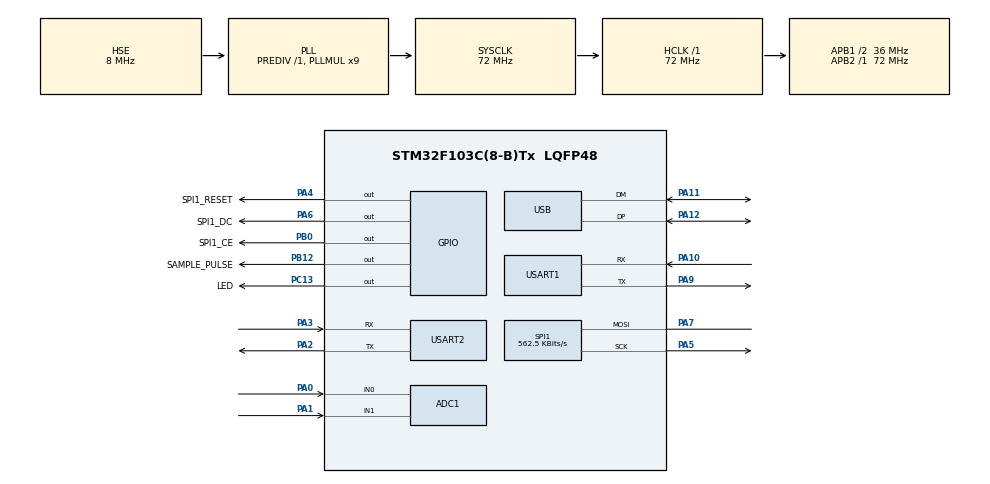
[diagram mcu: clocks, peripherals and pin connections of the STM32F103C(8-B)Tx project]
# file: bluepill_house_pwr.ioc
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Mcu.Family=STM32F1
USB_DEVICE.CLASS_NAME_FS=CDC
SPI1.VirtualType=VM_MASTER
VP_RTC_VS_RTC_Activate.Mode=RTC_Enabled
PA11.Mode=Device
PA6.GPIO_Label=SPI1_DC
PB0.GPIO_Label=SPI1_CE
RCC.SYSCLKSource=RCC_SYSCLKSOURCE_PLLCLK
ProjectManager.StackSize=0x400
VP_TIM1_VS_no_output1.Mode=Output Compare1 No Output
PD1-OSC_OUT.Signal=RCC_OSC_OUT
PA12.Signal=USB_DP
TIM1.Prescaler=0x0000
ADC1.Channel-3\#ChannelRegularConversion=ADC_CHANNEL_1
SPI1.Direction=SPI_DIRECTION_1LINE
USB_DEVICE.USBD_MAX_NUM_INTERFACES=1
RCC.HCLKFreq_Value=72000000
RCC.APB2TimFreq_Value=72000000
ADC1.Channel-2\#ChannelRegularConversion=ADC_CHANNEL_0
SPI1.CalculateBaudRate=562.5 KBits/s
TIM1.OC1Preload=ENABLE
RCC.AHBFreq_Value=72000000
RCC.RTCClockSelection=RCC_RTCCLKSOURCE_LSE
RCC.PLLMUL=RCC_PLL_MUL9
PB12.GPIO_Label=SAMPLE_PULSE
ADC1.Rank-2\#ChannelRegularConversion=1
PC14-OSC32_IN.Mode=LSE-External-Oscillator
SH.ADCx_IN0.0=ADC1_IN0,IN0
VP_TIM1_VS_ClockSourceINT.Mode=Internal
Mcu.Package=LQFP48
PA6.Signal=GPIO_Output
TIM1.Pulse-Output\ Compare1\ No\ Output=0x8000
USART2.VirtualMode=VM_ASYNC
PA10.Signal=USART1_RX
SH.ADCx_IN1.0=ADC1_IN1,IN1
RCC.APB1TimFreq_Value=72000000
TIM1.Period=18250
NVIC.USART1_IRQn=true\:0\:0\:false\:false\:true\:true\:true
SPI1.BaudRatePrescaler=SPI_BAUDRATEPRESCALER_128
PA4.GPIO_Label=SPI1_RESET
PA3.Signal=USART2_RX
PA5.Mode=Simplex_Bidirectional_Master
RCC.PLLSourceVirtual=RCC_PLLSOURCE_HSE
PC15-OSC32_OUT.Mode=LSE-External-Oscillator
PA7.Mode=Simplex_Bidirectional_Master
PD1-OSC_OUT.Mode=HSE-External-Oscillator
PA10.Mode=Asynchronous
USB_DEVICE.VirtualModeFS=Cdc_FS
TIM1.Channel-Output\ Compare1\ No\ Output=TIM_CHANNEL_1
ADC1.DiscontinuousConvMode=ENABLE
PC13-TAMPER-RTC.Signal=GPIO_Output
RCC.USBPrescaler=RCC_USBCLKSOURCE_PLL_DIV1_5
PD0-OSC_IN.Signal=RCC_OSC_IN
RCC.APB1CLKDivider=RCC_HCLK_DIV2
PC14-OSC32_IN.Signal=RCC_OSC32_IN
VP_SYS_VS_ND.Mode=No_Debug
NVIC.USART2_IRQn=true\:0\:0\:false\:false\:true\:true\:true
ADC1.SamplingTime-2\#ChannelRegularConversion=ADC_SAMPLETIME_1CYCLE_5
PA0-WKUP.Signal=ADCx_IN0
TIM1.ClockDivision=TIM_CLOCKDIVISION_DIV1
RCC.ADCPresc=RCC_ADCPCLK2_DIV6
PA3.Mode=Asynchronous
TIM1.AutoReloadPreload=TIM_AUTORELOAD_PRELOAD_DISABLE
PA9.Mode=Asynchronous
ProjectManager.TargetToolchain=STM32CubeIDE
VP_USB_DEVICE_VS_USB_DEVICE_CDC_FS.Mode=CDC_FS
PA9.Signal=USART1_TX
RCC.USBFreq_Value=48000000
PC15-OSC32_OUT.Signal=RCC_OSC32_OUT
PA1.Signal=ADCx_IN1
PD0-OSC_IN.Mode=HSE-External-Oscillator
PA5.Signal=SPI1_SCK
board=custom
PC13-TAMPER-RTC.GPIO_Label=LED
TIM1.TIM_MasterOutputTrigger=TIM_TRGO_OC1REF
RCC.APB2Freq_Value=72000000
SPI1.Mode=SPI_MODE_MASTER
NVIC.USB_LP_CAN1_RX0_IRQn=true\:0\:0\:false\:false\:true\:false\:true
ADC1.NbrOfConversion=2
Mcu.Name=STM32F103C(8-B)Tx
PA2.Signal=USART2_TX
ADC1.ExternalTrigConv=ADC_SOFTWARE_START
NVIC.TIM1_CC_IRQn=true\:0\:0\:false\:false\:true\:true\:true
PA4.Signal=GPIO_Output
RCC.SYSCLKFreq_VALUE=72000000
ADC1.master=1
PA12.Mode=Device
ADC1.Rank-3\#ChannelRegularConversion=2
ADC1.SamplingTime-3\#ChannelRegularConversion=ADC_SAMPLETIME_1CYCLE_5
USART1.VirtualMode=VM_ASYNC
PA11.Signal=USB_DM
ProjectManager.HeapSize=0x200
USB_DEVICE.USBD_MAX_NUM_CONFIGURATION=3
NVIC.PriorityGroup=NVIC_PRIORITYGROUP_4
ADC1.NbrOfConversionFlag=1
ADC1.EnableRegularConversion=ENABLE
PA2.Mode=Asynchronous
RCC.APB1Freq_Value=36000000
PB0.Signal=GPIO_Output
USB_DEVICE.VirtualMode=Cdc
PB12.Signal=GPIO_Output
TIM1.TIM_MasterSlaveMode=TIM_MASTERSLAVEMODE_DISABLE
PA7.Signal=SPI1_MOSI

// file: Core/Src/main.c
/* USER CODE BEGIN Header */
/**
  ******************************************************************************
  * @file           : main.c
  * @brief          : Main program body
  ******************************************************************************
  * @attention
  *
  * <h2><center>&copy; Copyright (c) 2020 STMicroelectronics.
  * All rights reserved.</center></h2>
  *
  * This software component is licensed by ST under BSD 3-Clause license,
  * the "License"; You may not use this file except in compliance with the
  * License. You may obtain a copy of the License at:
  *                        opensource.org/licenses/BSD-3-Clause
  *
  ******************************************************************************
  */
/* USER CODE END Header */
#include "main.h"
#include "adc.h"
#include "rtc.h"
#include "spi.h"
#include "tim.h"
#include "usart.h"
#include "usb_device.h"
#include "gpio.h"

/* USER CODE BEGIN Includes */
#include <stdio.h>
#include "usbd_cdc_if.h"
//#include "Utils/terminal.h"
//#include "nokia_lcd.h"
//#include "pwr_monitor.h"
//#include "wrap_cpp.h"
//#include "kses_cmdline.h"
/* USER CODE END Includes */

void SystemClock_Config(void);

/* USER CODE BEGIN 0 */
//int print_date(int argc, char* argv[])
//{
//  printf("Date:\n");
//
//  return CMDLINE_RETCODE_SUCCESS;
//}

/* USER CODE END 0 */

int main(void)
{

  /* MCU Configuration--------------------------------------------------------*/

  /* Reset of all peripherals, Initializes the Flash interface and the Systick. */
  HAL_Init();

  /* Configure the system clock */
  SystemClock_Config();

  /* Initialize all configured peripherals */
  MX_GPIO_Init();
  MX_USB_DEVICE_Init();
  MX_ADC1_Init();
  MX_USART1_UART_Init();
  MX_USART2_UART_Init();
  MX_TIM1_Init();
  MX_RTC_Init();
  MX_SPI1_Init();
  /* USER CODE BEGIN 2 */

  printf("House Power Monitor\n");
  printf("SYSCLOCK: %lu Hz\n", HAL_RCC_GetSysClockFreq());
  printf("HCLOCK  : %lu Hz\n", HAL_RCC_GetHCLKFreq());
  printf("APB1    : %lu Hz\n", HAL_RCC_GetPCLK1Freq());
  printf("APB2    : %lu Hz\n", HAL_RCC_GetPCLK2Freq());
  setbuf(stdout, NULL);
  terminal_init("pwr$ ");

  USART1->CR1 |= USART_CR1_RXNEIE;
  USART1->CR3 |= USART_CR3_EIE;

  USART2->CR1 |= USART_CR1_RXNEIE;
  USART2->CR3 |= USART_CR3_EIE;

//  cpp_init();
//  nokia_lcd_init();
//  pwr_monitor_init();

//  cmd_init(0);
//  cmd_add("date",
//      print_date,
//      "print date",
//      "Simply print the date\n"
//      "Args");

  /* USER CODE END 2 */

  /* Infinite loop */
  /* USER CODE BEGIN WHILE */
  while (1)
  {
    //only start new samples while Sonoff is not busy
//    if(esp_idle())
//      pwr_monitor_run();

    //Only while ADC is not sampling, do run() with delays
//    if(!pwr_monitor_busy())
//    {
//      terminal_run();
//      nokia_lcd_run();
//      cpp_run();
//      HAL_Delay(1);
//      //Reset every 3.14 hours
//      if(HAL_GetTick() > 11304000)
//      {
//        printf("House keep Reboot...\n");
//        NVIC_SystemReset();
//      }
//    }

    /* USER CODE END WHILE */

  }
}

void SystemClock_Config(void)
{
  RCC_OscInitTypeDef RCC_OscInitStruct = {0};
  RCC_ClkInitTypeDef RCC_ClkInitStruct = {0};
  RCC_PeriphCLKInitTypeDef PeriphClkInit = {0};

  /** Initializes the RCC Oscillators according to the specified parameters
  * in the RCC_OscInitTypeDef structure.
  */
  RCC_OscInitStruct.OscillatorType = RCC_OSCILLATORTYPE_HSE|RCC_OSCILLATORTYPE_LSE;
  RCC_OscInitStruct.HSEState = RCC_HSE_ON;
  RCC_OscInitStruct.HSEPredivValue = RCC_HSE_PREDIV_DIV1;
  RCC_OscInitStruct.LSEState = RCC_LSE_ON;
  RCC_OscInitStruct.HSIState = RCC_HSI_ON;
  RCC_OscInitStruct.PLL.PLLState = RCC_PLL_ON;
  RCC_OscInitStruct.PLL.PLLSource = RCC_PLLSOURCE_HSE;
  RCC_OscInitStruct.PLL.PLLMUL = RCC_PLL_MUL9;
  if (HAL_RCC_OscConfig(&RCC_OscInitStruct) != HAL_OK)
  {
    Error_Handler();
  }
  /** Initializes the CPU, AHB and APB buses clocks
  */
  RCC_ClkInitStruct.ClockType = RCC_CLOCKTYPE_HCLK|RCC_CLOCKTYPE_SYSCLK
                              |RCC_CLOCKTYPE_PCLK1|RCC_CLOCKTYPE_PCLK2;
  RCC_ClkInitStruct.SYSCLKSource = RCC_SYSCLKSOURCE_PLLCLK;
  RCC_ClkInitStruct.AHBCLKDivider = RCC_SYSCLK_DIV1;
  RCC_ClkInitStruct.APB1CLKDivider = RCC_HCLK_DIV2;
  RCC_ClkInitStruct.APB2CLKDivider = RCC_HCLK_DIV1;

  if (HAL_RCC_ClockConfig(&RCC_ClkInitStruct, FLASH_LATENCY_2) != HAL_OK)
  {
    Error_Handler();
  }
  PeriphClkInit.PeriphClockSelection = RCC_PERIPHCLK_RTC|RCC_PERIPHCLK_ADC
                              |RCC_PERIPHCLK_USB;
  PeriphClkInit.RTCClockSelection = RCC_RTCCLKSOURCE_LSE;
  PeriphClkInit.AdcClockSelection = RCC_ADCPCLK2_DIV6;
  PeriphClkInit.UsbClockSelection = RCC_USBCLKSOURCE_PLL_DIV1_5;
  if (HAL_RCCEx_PeriphCLKConfig(&PeriphClkInit) != HAL_OK)
  {
    Error_Handler();
  }
}

/* USER CODE BEGIN 4 */

#ifdef __GNUC__
/* With GCC/RAISONANCE, small printf (option LD Linker->Libraries->Small printf
 set to 'Yes') calls __io_putchar() */
#define PUTCHAR_PROTOTYPE int __io_putchar(int ch)
#else
#define PUTCHAR_PROTOTYPE int fputc(int ch, FILE *f)
#endif /* __GNUC__ */

/**
 * @brief Retargets the C library printf function to the USART.
 * @param None
 * @retval None
 */
PUTCHAR_PROTOTYPE
{
  if(ch == '\n')
  {
    uint8_t cr = '\r';
    HAL_UART_Transmit(&huart1, &cr, 1, 0xFFFF);
  }

  if(ch == '\r')
  {
    uint8_t cr = '\n';
    HAL_UART_Transmit(&huart1, &cr, 1, 0xFFFF);
  }

 HAL_UART_Transmit(&huart1, (uint8_t *)&ch, 1, 0xFFFF);

return ch;
}
/* USER CODE END 4 */

void Error_Handler(void)
{
}

/************************ (C) COPYRIGHT STMicroelectronics *****END OF FILE****/
